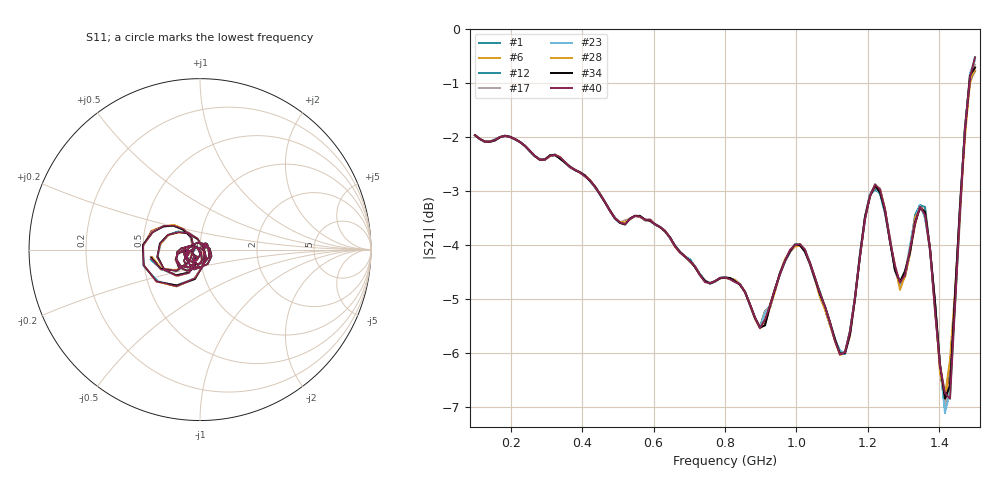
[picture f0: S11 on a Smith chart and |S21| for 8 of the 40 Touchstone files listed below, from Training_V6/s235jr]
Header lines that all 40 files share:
! NanoVNA-App
! Start: 100MHz Stop: 1,5GHz Points: 101
! S-Parameter data: F S11 S21 S12 S22
# Hz S RI R 50
!  Frequency  S11_Real  S11_Imag  S21_Real  S21_Imag  S12_Real  S12_Imag  S22_Real  S22_Imag
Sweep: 100 MHz to 1.5 GHz
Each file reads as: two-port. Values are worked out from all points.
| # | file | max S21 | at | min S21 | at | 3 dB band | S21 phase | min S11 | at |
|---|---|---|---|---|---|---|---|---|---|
| 1 | s235jr (401).s2p | -0.52 dB | 1.5 GHz | -7.0 dB | 1.416 GHz | 100 MHz-492 MHz | 125 deg at 800 MHz | -40.7 dB | 660 MHz |
| 2 | s235jr (402).s2p | -0.80 dB | 1.5 GHz | -6.9 dB | 1.416 GHz | 100 MHz-632 MHz | 125 deg at 800 MHz | -40.7 dB | 660 MHz |
| 3 | s235jr (403).s2p | -0.56 dB | 1.5 GHz | -6.9 dB | 1.416 GHz | 100 MHz-492 MHz | 125 deg at 800 MHz | -39.9 dB | 660 MHz |
| 4 | s235jr (404).s2p | -0.58 dB | 1.5 GHz | -6.8 dB | 1.416 GHz | 100 MHz-590 MHz | 125 deg at 800 MHz | -40.4 dB | 660 MHz |
| 5 | s235jr (405).s2p | -0.58 dB | 1.5 GHz | -6.8 dB | 1.416 GHz | 100 MHz-506 MHz | 125 deg at 800 MHz | -40.3 dB | 660 MHz |
| 6 | s235jr (406).s2p | -0.71 dB | 1.5 GHz | -6.9 dB | 1.416 GHz | 100 MHz-618 MHz | 125 deg at 800 MHz | -39.9 dB | 660 MHz |
| 7 | s235jr (407).s2p | -0.49 dB | 1.5 GHz | -7.0 dB | 1.416 GHz | 100 MHz-478 MHz | 125 deg at 800 MHz | -39.8 dB | 660 MHz |
| 8 | s235jr (408).s2p | -0.76 dB | 1.486 GHz | -6.7 dB | 1.416 GHz | 100 MHz-632 MHz | 125 deg at 800 MHz | -40.6 dB | 660 MHz |
| 9 | s235jr (409).s2p | -0.85 dB | 1.5 GHz | -6.9 dB | 1.416 GHz | 100 MHz-632 MHz | 125 deg at 800 MHz | -40.6 dB | 660 MHz |
| 10 | s235jr (410).s2p | -0.80 dB | 1.5 GHz | -6.9 dB | 1.416 GHz | 100 MHz-632 MHz | 125 deg at 800 MHz | -39.9 dB | 660 MHz |
| 11 | s235jr (411).s2p | -0.69 dB | 1.5 GHz | -6.8 dB | 1.416 GHz | 100 MHz-618 MHz | 125 deg at 800 MHz | -40.7 dB | 660 MHz |
| 12 | s235jr (412).s2p | -0.78 dB | 1.5 GHz | -6.9 dB | 1.416 GHz | 100 MHz-632 MHz | 125 deg at 800 MHz | -40.7 dB | 660 MHz |
| 13 | s235jr (413).s2p | -0.48 dB | 1.5 GHz | -7.0 dB | 1.416 GHz | 100 MHz-478 MHz | 125 deg at 800 MHz | -40.1 dB | 660 MHz |
| 14 | s235jr (414).s2p | -0.75 dB | 1.5 GHz | -6.8 dB | 1.416 GHz | 100 MHz-632 MHz | 125 deg at 800 MHz | -39.9 dB | 660 MHz |
| 15 | s235jr (415).s2p | -0.65 dB | 1.5 GHz | -6.8 dB | 1.416 GHz | 100 MHz-604 MHz | 125 deg at 800 MHz | -40.4 dB | 660 MHz |
| 16 | s235jr (416).s2p | -0.57 dB | 1.5 GHz | -7.1 dB | 1.416 GHz | 100 MHz-492 MHz | 125 deg at 800 MHz | -39.9 dB | 660 MHz |
| 17 | s235jr (417).s2p | -0.66 dB | 1.5 GHz | -7.0 dB | 1.416 GHz | 100 MHz-604 MHz | 126 deg at 800 MHz | -39.8 dB | 660 MHz |
| 18 | s235jr (418).s2p | -0.57 dB | 1.5 GHz | -7.1 dB | 1.416 GHz | 100 MHz-492 MHz | 126 deg at 800 MHz | -40.6 dB | 660 MHz |
| 19 | s235jr (419).s2p | -0.59 dB | 1.5 GHz | -7.1 dB | 1.416 GHz | 100 MHz-590 MHz | 126 deg at 800 MHz | -40.4 dB | 660 MHz |
| 20 | s235jr (420).s2p | -0.53 dB | 1.5 GHz | -6.9 dB | 1.416 GHz | 100 MHz-492 MHz | 126 deg at 800 MHz | -39.8 dB | 660 MHz |
| 21 | s235jr (421).s2p | -0.75 dB | 1.5 GHz | -7.0 dB | 1.416 GHz | 100 MHz-632 MHz | 125 deg at 800 MHz | -39.9 dB | 660 MHz |
| 22 | s235jr (422).s2p | -0.65 dB | 1.5 GHz | -6.8 dB | 1.416 GHz | 100 MHz-604 MHz | 125 deg at 800 MHz | -39.9 dB | 660 MHz |
| 23 | s235jr (423).s2p | -0.58 dB | 1.5 GHz | -7.1 dB | 1.416 GHz | 100 MHz-492 MHz | 125 deg at 800 MHz | -39.9 dB | 660 MHz |
| 24 | s235jr (424).s2p | -0.80 dB | 1.5 GHz | -6.7 dB | 1.416 GHz | 100 MHz-632 MHz | 125 deg at 800 MHz | -40.6 dB | 660 MHz |
| 25 | s235jr (425).s2p | -0.73 dB | 1.5 GHz | -6.9 dB | 1.416 GHz | 100 MHz-618 MHz | 125 deg at 800 MHz | -40.0 dB | 660 MHz |
| 26 | s235jr (426).s2p | -0.63 dB | 1.5 GHz | -6.8 dB | 1.416 GHz | 100 MHz-604 MHz | 126 deg at 800 MHz | -40.3 dB | 660 MHz |
| 27 | s235jr (427).s2p | -0.64 dB | 1.5 GHz | -6.9 dB | 1.416 GHz | 100 MHz-604 MHz | 125 deg at 800 MHz | -40.8 dB | 660 MHz |
| 28 | s235jr (428).s2p | -0.77 dB | 1.5 GHz | -6.8 dB | 1.416 GHz | 100 MHz-632 MHz | 125 deg at 800 MHz | -40.7 dB | 660 MHz |
| 29 | s235jr (429).s2p | -0.62 dB | 1.5 GHz | -7.0 dB | 1.416 GHz | 100 MHz-590 MHz | 125 deg at 800 MHz | -40.6 dB | 660 MHz |
| 30 | s235jr (430).s2p | -0.56 dB | 1.5 GHz | -6.9 dB | 1.416 GHz | 100 MHz-492 MHz | 125 deg at 800 MHz | -40.7 dB | 660 MHz |
| 31 | s235jr (431).s2p | -0.57 dB | 1.5 GHz | -6.9 dB | 1.416 GHz | 100 MHz-492 MHz | 125 deg at 800 MHz | -39.8 dB | 660 MHz |
| 32 | s235jr (432).s2p | -0.74 dB | 1.5 GHz | -6.9 dB | 1.416 GHz | 100 MHz-632 MHz | 125 deg at 800 MHz | -40.7 dB | 660 MHz |
| 33 | s235jr (433).s2p | -0.76 dB | 1.5 GHz | -7.1 dB | 1.416 GHz | 100 MHz-632 MHz | 125 deg at 800 MHz | -40.6 dB | 660 MHz |
| 34 | s235jr (434).s2p | -0.71 dB | 1.5 GHz | -6.8 dB | 1.416 GHz | 100 MHz-618 MHz | 125 deg at 800 MHz | -39.9 dB | 660 MHz |
| 35 | s235jr (435).s2p | -0.76 dB | 1.5 GHz | -6.8 dB | 1.416 GHz | 100 MHz-632 MHz | 125 deg at 800 MHz | -39.9 dB | 660 MHz |
| 36 | s235jr (436).s2p | -0.56 dB | 1.5 GHz | -6.8 dB | 1.416 GHz | 100 MHz-492 MHz | 125 deg at 800 MHz | -39.8 dB | 660 MHz |
| 37 | s235jr (437).s2p | -0.72 dB | 1.5 GHz | -6.7 dB | 1.416 GHz | 100 MHz-618 MHz | 125 deg at 800 MHz | -39.8 dB | 660 MHz |
| 38 | s235jr (438).s2p | -0.69 dB | 1.5 GHz | -6.9 dB | 1.416 GHz | 100 MHz-618 MHz | 125 deg at 800 MHz | -40.7 dB | 660 MHz |
| 39 | s235jr (439).s2p | -0.51 dB | 1.5 GHz | -7.1 dB | 1.416 GHz | 100 MHz-492 MHz | 125 deg at 800 MHz | -40.7 dB | 660 MHz |
| 40 | s235jr (440).s2p | -0.52 dB | 1.5 GHz | -6.8 dB | 1.43 GHz | 100 MHz-492 MHz | 125 deg at 800 MHz | -39.9 dB | 660 MHz |
